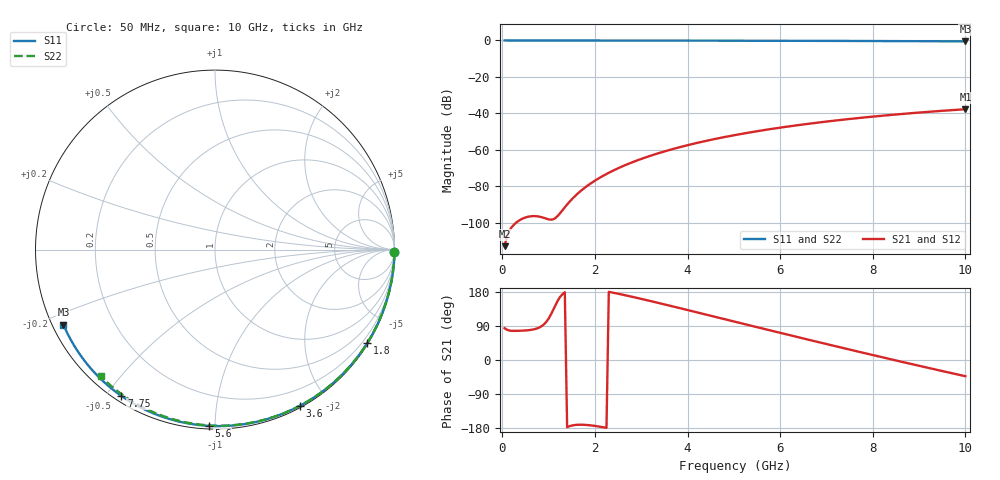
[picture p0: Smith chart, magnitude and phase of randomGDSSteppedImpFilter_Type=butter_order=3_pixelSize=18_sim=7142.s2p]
! freq	dB(S11)	phase(S11)	dB(S12)	phase(S12)
!  dB(S21)	phase(S21)	dB(S22)	phase(S22)
!S-par simulation data
#  GHz  S  DB  R 50
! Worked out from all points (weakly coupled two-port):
!   200 points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, 50 MHz to 10 GHz, reference 50 ohm
!   highest |S21| = -37.74 dB at 10 GHz (marker M1); lowest = -112.9 dB at 50 MHz (marker M2)
!   lowest |S11| = -0.5 dB at 10 GHz (marker M3), VSWR 33.60, Z = 1.57 - j11.7 ohm
!   |S11| at or under -10 dB: nowhere
!   |S22| runs from -0.4 to 0.0 dB; largest |S21 - S12| = 0
!   S11 on the Smith chart (normalised r, x): 50 MHz: open; 1.8 GHz: 0.03, -3.54; 3.6 GHz: 0.02, -1.68; 5.6 GHz: 0.02, -0.96; 7.75 GHz: 0.02, -0.55; 10 GHz: 0.03, -0.23
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0.05  -0.00 -0.9  -112.89 84.0  -112.89 84.0  -0.00 -0.8
0.45  -0.01 -8.0  -97.63 77.5  -97.63 77.5  -0.01 -6.8
0.9  -0.02 -15.9  -97.37 94.1  -97.37 94.1  -0.02 -13.6
1.3  -0.03 -22.9  -93.14 173.7  -93.14 173.7  -0.02 -19.6
1.75  -0.04 -30.7  -81.42 -170.9  -81.42 -170.9  -0.03 -26.3
1.8  -0.04 -31.5  -80.44 -171.2  -80.44 -171.2  -0.03 -27.0
1.85  -0.04 -32.4  -79.51 -171.7  -79.51 -171.7  -0.04 -27.7
2  -0.04 -34.9  -76.94 -173.9  -76.94 -173.9  -0.04 -29.9
2.2  -0.05 -38.3  -73.95 -177.9  -73.95 -177.9  -0.04 -32.9
2.5  -0.06 -43.4  -70.14 174.9  -70.14 174.9  -0.05 -37.2
2.9  -0.06 -50.0  -65.94 164.1  -65.94 164.1  -0.06 -42.9
3.4  -0.08 -58.2  -61.65 149.7  -61.65 149.7  -0.07 -50.0
3.6  -0.08 -61.4  -60.16 143.8  -60.16 143.8  -0.07 -52.8
4.3  -0.10 -72.5  -55.67 122.9  -55.67 122.9  -0.09 -62.4
5.05  -0.13 -83.9  -51.80 100.2  -51.80 100.2  -0.11 -72.4
5.6  -0.15 -92.1  -49.40 83.7  -49.40 83.7  -0.13 -79.5
6.15  -0.18 -100.1  -47.30 67.2  -47.30 67.2  -0.15 -86.5
6.7  -0.21 -108.0  -45.43 50.9  -45.43 50.9  -0.18 -93.3
7.75  -0.28 -122.6  -42.42 20.2  -42.42 20.2  -0.24 -105.9
8.35  -0.34 -130.9  -40.96 3.0  -40.96 3.0  -0.29 -113.0
9.2  -0.42 -142.6  -39.17 -20.9  -39.17 -20.9  -0.36 -122.8
10  -0.52 -153.7  -37.74 -42.8  -37.74 -42.8  -0.44 -131.9
